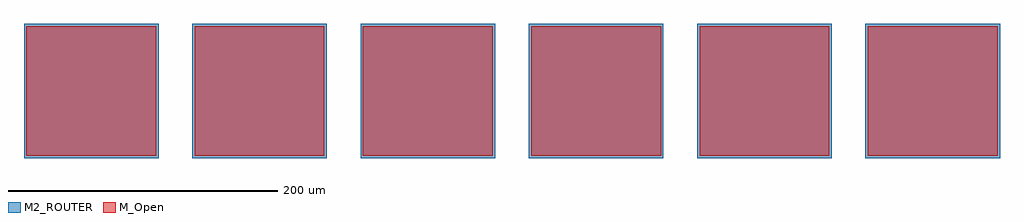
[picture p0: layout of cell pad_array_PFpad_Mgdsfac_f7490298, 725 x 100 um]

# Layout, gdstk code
import gdstk
lib = gdstk.Library(unit=1e-6, precision=1e-09)
def R(c, l, rs):  # rectangles x0, y0, x1, y1
    for r in rs: c.add(gdstk.rectangle(r[:2], r[2:], *l))
M2_ROUTER = (12, 0)
M_Open = (13, 0)

pad_s100_100_lmtop_blpa_ = lib.new_cell('pad_S100_100_LMTOP_BLPA_e488cec8')
R(pad_s100_100_lmtop_blpa_, M2_ROUTER, [(-50,-50,50,50)])
R(pad_s100_100_lmtop_blpa_, M_Open, [(-48.2,-48.2,48.2,48.2)])

pad_array_pfpad_mgdsfac_ = lib.new_cell('pad_array_PFpad_Mgdsfac_f7490298')
r = gdstk.Reference(pad_s100_100_lmtop_blpa_, (0,0)); r.repetition = gdstk.Repetition(6, 1, v1=(125,0), v2=(0,0)); pad_array_pfpad_mgdsfac_.add(r)

lib.write_gds('pad_array_PFpad_Mgdsfac_f7490298.gds')
